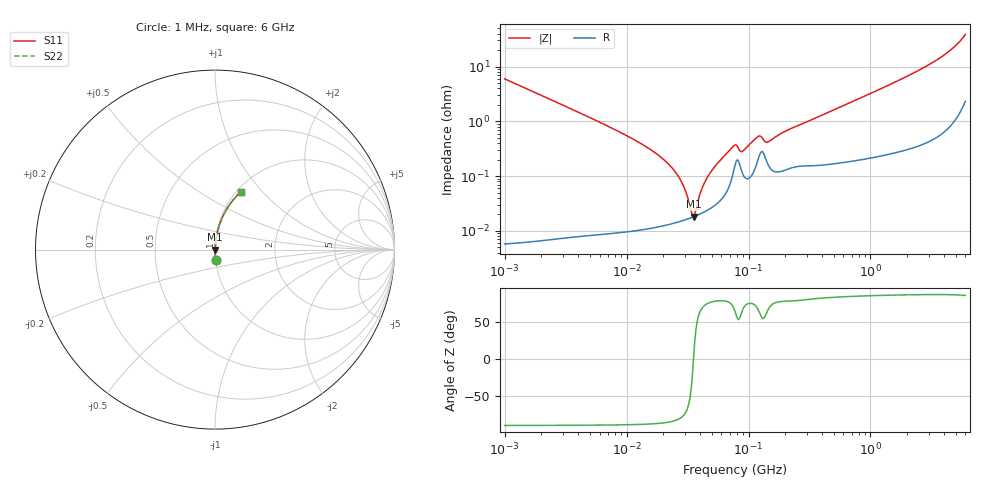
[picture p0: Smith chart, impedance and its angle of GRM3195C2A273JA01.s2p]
!Murata Part Number: GRM3195C2A273JA01
!These Parameters are Measured in Series Mode Connection
!Data Generated on Mar 30, 2021
!  o--ll--o
!Port1  Port2
!  o------o
!Operation Temp=25[degC], DC Bias Voltage=0[V]
!Freq. Start=1000[kHz] Stop=6[GHz] 401[Steps]
# Hz S RI R 50
!Freq.(Hz) S11(Real) S11(Imag) S21(Real) S21(Imag) S12(Real) S12(Imag) S22(Real) S22(Imag)
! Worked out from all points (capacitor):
!   401 points, 1 MHz to 6 GHz, reference 50 ohm
!   read as one part in series: C = 26.6 nF near 1.044 MHz
!   lowest |Z| = 18.1 mohm at 35.4 MHz (marker M1)
!   series resonance near 35.36 MHz, so ESL is about 760 pH
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1000000  0.00362 -0.0596  0.9964 0.0596  0.9964 0.0596  0.00362 -0.0596
4293785  0.000268 -0.0137  0.9997 0.0137  0.9997 0.0137  0.000268 -0.0137
1.093935e7  0.000122 -0.00494  0.9999 0.00494  0.9999 0.00494  0.000122 -0.00494
1.843659e7  0.000124 -0.00236  0.9999 0.00236  0.9999 0.00236  0.000124 -0.00236
2.291577e7  0.000135 -0.00152  0.9999 0.00152  0.9999 0.00152  0.000135 -0.00152
2.727078e7  0.000149 -0.000891  0.9999 0.000891  0.9999 0.000891  0.000149 -0.000891
3.040356e7  0.00016 -0.000516  0.9998 0.000516  0.9998 0.000516  0.00016 -0.000516
3.389622e7  0.000175 -0.000144  0.9998 0.000144  0.9998 0.000144  0.000175 -0.000144
3.540316e7  0.000181 4.2e-06  0.9998 -4.2e-06  0.9998 -4.2e-06  0.000181 4.2e-06
3.697709e7  0.000188 0.000153  0.9998 -0.000153  0.9998 -0.000153  0.000188 0.000153
4.213132e7  0.000215 0.000608  0.9998 -0.000608  0.9998 -0.000608  0.000215 0.000608
4.697123e7  0.000246 0.001  0.9998 -0.001  0.9998 -0.001  0.000246 0.001
5.712686e7  0.00034 0.00179  0.9997 -0.00179  0.9997 -0.00179  0.00034 0.00179
7.745967e7  0.00158 0.00334  0.9984 -0.00334  0.9984 -0.00334  0.00158 0.00334
9.019724e7  0.00107 0.00269  0.9989 -0.00269  0.9989 -0.00269  0.00107 0.00269
1.196694e8  0.00202 0.00487  0.998 -0.00487  0.998 -0.00487  0.00202 0.00487
1.455431e8  0.00159 0.00392  0.9984 -0.00392  0.9984 -0.00392  0.00159 0.00392
2.016844e8  0.00134 0.00652  0.9987 -0.00652  0.9987 -0.00652  0.00134 0.00652
3.325952e8  0.00166 0.0107  0.9983 -0.0107  0.9983 -0.0107  0.00166 0.0107
1.428092e9  0.00464 0.0461  0.9954 -0.0461  0.9954 -0.0461  0.00464 0.0461
3.483508e9  0.0218 0.1279  0.9782 -0.1279  0.9782 -0.1279  0.0218 0.1279
6e9  0.1438 0.3218  0.8562 -0.3218  0.8562 -0.3218  0.1438 0.3218
